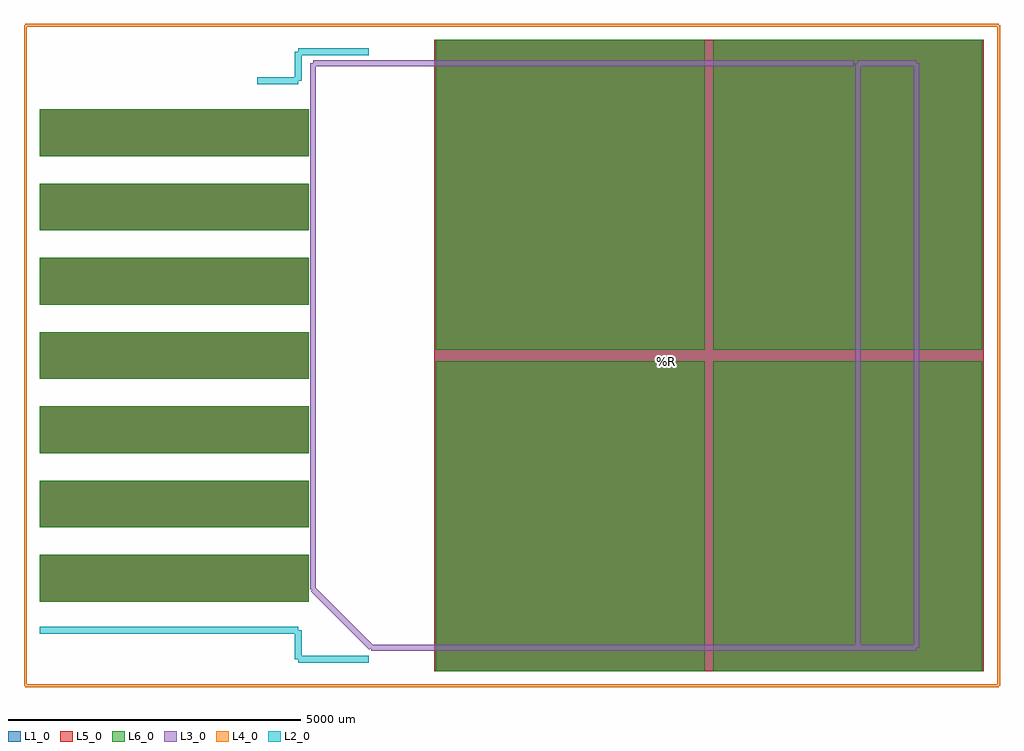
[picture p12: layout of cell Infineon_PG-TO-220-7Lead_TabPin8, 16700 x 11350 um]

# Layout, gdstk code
import gdstk
lib = gdstk.Library(unit=1e-6, precision=1e-09)
def R(c, l, rs):  # rectangles x0, y0, x1, y1
    for r in rs: c.add(gdstk.rectangle(r[:2], r[2:], *l))
def A(c, l, x, y, w, h, nx, ny, dx, dy):  # array of equal rectangles
    R(c, l, [(x+i*dx, y+j*dy, x+i*dx+w, y+j*dy+h) for i in range(nx) for j in range(ny)])
L1_0 = (1, 0)
L2_0 = (2, 0)
L3_0 = (3, 0)
L4_0 = (4, 0)
L5_0 = (5, 0)
L6_0 = (6, 0)

infineon_pg_to_220_7lead = lib.new_cell('Infineon_PG-TO-220-7Lead_TabPin8')
A(infineon_pg_to_220_7lead, L1_0, -8075, -4210, 4600, 800, 1, 7, 0, 1270)
R(infineon_pg_to_220_7lead, L1_0, [(-1325,-5400,8075,5400)])
A(infineon_pg_to_220_7lead, L5_0, -8075, -4210, 4600, 800, 1, 7, 0, 1270)
R(infineon_pg_to_220_7lead, L5_0, [(-1325,-5400,8075,5400)])
A(infineon_pg_to_220_7lead, L6_0, -8075, -4210, 4600, 800, 1, 7, 0, 1270)
R(infineon_pg_to_220_7lead, L6_0, [(-1300,-5400,3300,-100), (3450,-5400,8050,-100), (-1300,100,3300,5400), (3450,100,8050,5400)])
infineon_pg_to_220_7lead.add(gdstk.FlexPath([(5925,-5000),(6925,-5000)], 100, ends="flush", simple_path=True, layer=3, datatype=0))  # L3_0
infineon_pg_to_220_7lead.add(gdstk.FlexPath([(6925,-5000),(6925,5000)], 100, ends="flush", simple_path=True, layer=3, datatype=0))  # L3_0
infineon_pg_to_220_7lead.add(gdstk.FlexPath([(5925,5000),(6925,5000)], 100, ends="flush", simple_path=True, layer=3, datatype=0))  # L3_0
infineon_pg_to_220_7lead.add(gdstk.FlexPath([(-3400,-4000),(-2400,-5000)], 100, ends="flush", simple_path=True, layer=3, datatype=0))  # L3_0
infineon_pg_to_220_7lead.add(gdstk.FlexPath([(-4350,4700),(-3650,4700)], 120, ends="flush", simple_path=True, layer=2, datatype=0))  # L2_0
infineon_pg_to_220_7lead.add(gdstk.FlexPath([(-3650,4700),(-3650,4800)], 120, ends="flush", simple_path=True, layer=2, datatype=0))  # L2_0
infineon_pg_to_220_7lead.add(gdstk.FlexPath([(-2450,5200),(-3650,5200)], 120, ends="flush", simple_path=True, layer=2, datatype=0))  # L2_0
infineon_pg_to_220_7lead.add(gdstk.FlexPath([(-3650,5200),(-3650,4800)], 120, ends="flush", simple_path=True, layer=2, datatype=0))  # L2_0
infineon_pg_to_220_7lead.add(gdstk.FlexPath([(-3650,-5200),(-2450,-5200)], 120, ends="flush", simple_path=True, layer=2, datatype=0))  # L2_0
infineon_pg_to_220_7lead.add(gdstk.FlexPath([(-8075,-4700),(-3650,-4700)], 120, ends="flush", simple_path=True, layer=2, datatype=0))  # L2_0
infineon_pg_to_220_7lead.add(gdstk.FlexPath([(-3650,-4700),(-3650,-5200)], 120, ends="flush", simple_path=True, layer=2, datatype=0))  # L2_0
infineon_pg_to_220_7lead.add(gdstk.FlexPath([(-3400,5000),(5850,5000)], 100, ends="flush", simple_path=True, layer=3, datatype=0))  # L3_0
infineon_pg_to_220_7lead.add(gdstk.FlexPath([(-2400,-5000),(5925,-5000)], 100, ends="flush", simple_path=True, layer=3, datatype=0))  # L3_0
infineon_pg_to_220_7lead.add(gdstk.FlexPath([(-3400,-4000),(-3400,5000)], 100, ends="flush", simple_path=True, layer=3, datatype=0))  # L3_0
infineon_pg_to_220_7lead.add(gdstk.FlexPath([(5925,-5000),(5925,5000)], 100, ends="flush", simple_path=True, layer=3, datatype=0))  # L3_0
infineon_pg_to_220_7lead.add(gdstk.FlexPath([(-8320,-5650),(8330,-5650)], 50, ends="flush", simple_path=True, layer=4, datatype=0))  # L4_0
infineon_pg_to_220_7lead.add(gdstk.FlexPath([(-8320,-5650),(-8320,5650)], 50, ends="flush", simple_path=True, layer=4, datatype=0))  # L4_0
infineon_pg_to_220_7lead.add(gdstk.FlexPath([(8330,5650),(8330,-5650)], 50, ends="flush", simple_path=True, layer=4, datatype=0))  # L4_0
infineon_pg_to_220_7lead.add(gdstk.FlexPath([(8330,5650),(-8320,5650)], 50, ends="flush", simple_path=True, layer=4, datatype=0))  # L4_0
infineon_pg_to_220_7lead.add(gdstk.Label('REF**', (0,-6500), layer=2, texttype=0))
infineon_pg_to_220_7lead.add(gdstk.Label('Infineon_PG-TO-220-7Lead_TabPin8', (0,6500), layer=3, texttype=0))
infineon_pg_to_220_7lead.add(gdstk.Label('%R', (2650,-100), layer=3, texttype=0))

lib.write_gds('Infineon_PG-TO-220-7Lead_TabPin8.gds')
